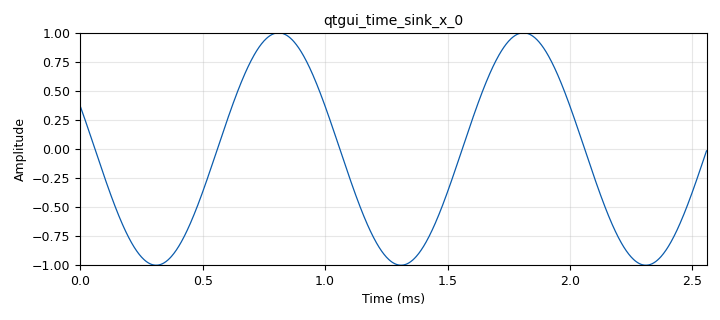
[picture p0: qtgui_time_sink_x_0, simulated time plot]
options:
  parameters:
    generate_options: qt_gui
    id: PRACT_1
    output_language: python
    title: Not titled yet
  states: {}

blocks:
- name: A
  id: variable_qtgui_range
  parameters:
    label: Amp
    start: '1'
    step: '1'
    stop: 5E3
    value: '600'
  states: {}
- name: GTX
  id: variable_qtgui_range
  parameters:
    label: Gain
    start: '0'
    step: '1'
    stop: '30'
    value: '10'
  states: {}
- name: fc
  id: variable_qtgui_range
  parameters:
    label: FC
    start: 87.5E6
    step: 10e3
    stop: 108E6
    value: 100E6
  states: {}
- name: samp_rate
  id: variable
  parameters:
    value: 400e3
  states: {}
- name: analog_sig_source_x_0
  id: analog_sig_source_x
  parameters:
    amp: '1'
    freq: '1000'
    offset: '0'
    phase: '0'
    samp_rate: samp_rate
    type: float
    waveform: analog.GR_SIN_WAVE
  states: {}
- name: promedios_de_tiempos
  id: epy_block
  parameters:
    _source_code: |
      """
      Embedded Python Blocks:

      Each time this file is saved, GRC will instantiate the first class it finds
      to get ports and parameters of your block. The arguments to __init__  will
      be the parameters. All of them are required to have default values!
      """
      import numpy as np
      from gnuradio import gr
      class blk (gr.sync_block ):
        def __init__ ( self ) : # only default arguments here
            gr.sync_block.__init__ (
                self ,
                name ='Promedios_de_tiempos', # will show up in GRC
                in_sig =[ np.float32 ],
                out_sig =[ np.float32,np.float32,np.float32,np.float32,np.float32 ]
            )
            self.acum_anterior = 0
            self.Ntotales = 0
            self.acum_anterior1 = 0
            self.acum_anterior2 = 0
        def work (self,input_items,output_items):
            x = input_items [0] # Senial de entrada .
            y0 = output_items [0] # Promedio de la senial
            y1 = output_items [1] # Media de la senial
            y2 = output_items [2] # RMS de la senial
            y3 = output_items [3] # Potencia promedio de la senial
            y4 = output_items [4] # Desviacion estandar de la senial

            # Calculo del promedio
            N = len (x)
            self.Ntotales = self.Ntotales + N
            acumulado = self.acum_anterior + np.cumsum(x)
            self.acum_anterior = acumulado [N-1]
            y0 [:]= acumulado/self.Ntotales

            # Calculo de la media cuadratica
            x2=np.multiply (x,x)
            acumulado1 = self.acum_anterior1 + np.cumsum(x2)
            self.acum_anterior1 = acumulado1[N-1]
            y1 [:] = acumulado1/self.Ntotales

            # Calculo de la RMS
            y2 [:] = np.sqrt (y1)
            # Calculo de la potencia promedio
            y3 [:] = np.multiply(y2,y2)

            # Calculo de la desviacion estandar
            x3 = np.multiply (x-y0,x-y0)
            acumulado2 = self.acum_anterior2 + np.cumsum(x3)
            self.acum_anterior2 = acumulado2 [N-1]
            y4 [:] = np.sqrt (acumulado2/self.Ntotales)
            return len (x)
  states: {}
- name: qtgui_number_sink_0
  id: qtgui_number_sink
  parameters:
    graph_type: qtgui.NUM_GRAPH_HORIZ
    name: '"PROMEDIO"'
    type: float
  states: {}
- name: qtgui_number_sink_1
  id: qtgui_number_sink
  parameters:
    graph_type: qtgui.NUM_GRAPH_HORIZ
    name: '"MEDIA"'
    type: float
  states: {}
- name: qtgui_number_sink_2
  id: qtgui_number_sink
  parameters:
    graph_type: qtgui.NUM_GRAPH_HORIZ
    name: '"RMS"'
    type: float
  states: {}
- name: qtgui_number_sink_3
  id: qtgui_number_sink
  parameters:
    graph_type: qtgui.NUM_GRAPH_HORIZ
    name: '"POTENCIA_PROMEDIO"'
    type: float
  states: {}
- name: qtgui_number_sink_4
  id: qtgui_number_sink
  parameters:
    graph_type: qtgui.NUM_GRAPH_HORIZ
    name: '"DESVIACION_STANDARD"'
    type: float
  states: {}
- name: qtgui_time_sink_x_0
  id: qtgui_time_sink_x
  parameters:
    size: '1024'
    srate: samp_rate
    type: float
  states: {}

connections:
- [analog_sig_source_x_0, '0', promedios_de_tiempos, '0']
- [analog_sig_source_x_0, '0', qtgui_time_sink_x_0, '0']
- [promedios_de_tiempos, '0', qtgui_number_sink_0, '0']
- [promedios_de_tiempos, '1', qtgui_number_sink_1, '0']
- [promedios_de_tiempos, '2', qtgui_number_sink_2, '0']
- [promedios_de_tiempos, '3', qtgui_number_sink_3, '0']
- [promedios_de_tiempos, '4', qtgui_number_sink_4, '0']

metadata:
  file_format: 1
  grc_version: 3.10.5.1
